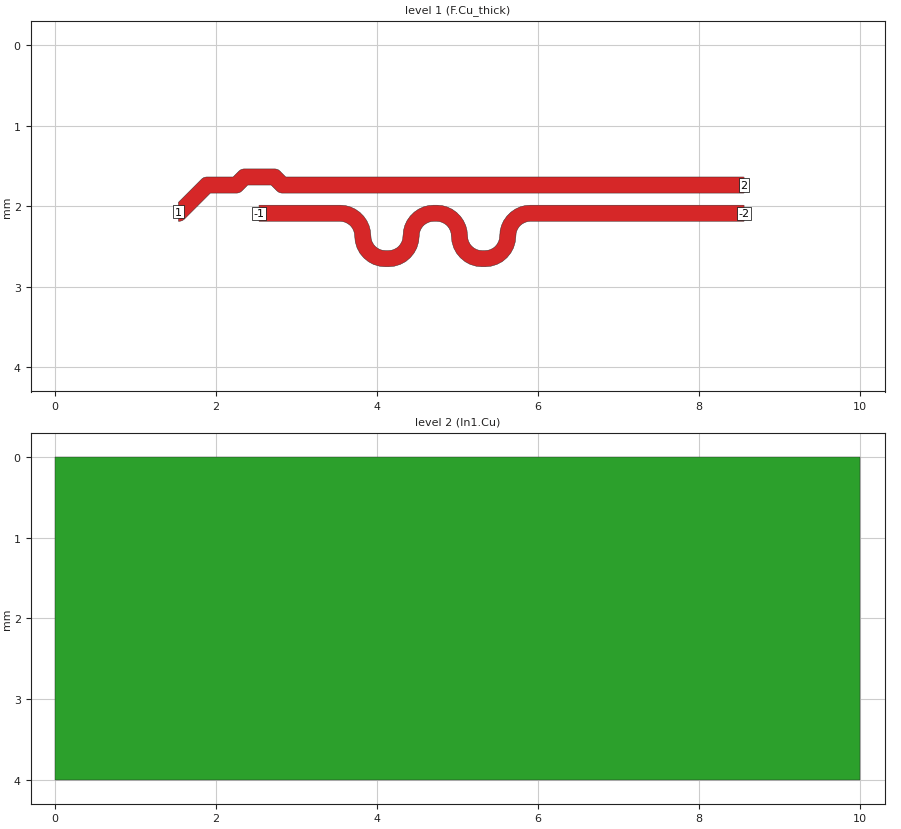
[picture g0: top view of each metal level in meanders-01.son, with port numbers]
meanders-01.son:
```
FTYP SONPROJ 19 ! Sonnet Project File
VER 18.56
HEADER
LIC antikernel2.1.52448
DAT 01/31/2024 20:13:18
BUILT_BY_CREATED xgeom 18.56 01/25/2024 07:41:08
BUILT_BY_SAVED sonnet 18.56
MDATE 01/31/2024 17:11:42
HDATE 01/31/2024 17:11:42
ANN Created by dxfgeo, Sonnet Software Inc.
END HEADER
DIM
ANG DEG
CAP PF
CON /OH
FREQ GHZ
IND NH
LNG MM
RES OH
END DIM
CONTROL
VARSWP
OPTIONS  -dj
SPEED 0
CACHE_ABS 2
Q_ACC N
END CONTROL
GEO
TMET "Free Space" 0 FREESPACE 376.7303136 0 0 0
BMET "Free Space" 0 FREESPACE 376.7303136 0 0 0
MET "Copper_1oz+plated_thick_up" 1 TMM 58000000 0.5 0.0432 2
MET "Copper_1oz+plated_thin" 4 NOR 58000000 0.5 0.0432 
MET "Copper_0.5oz_thin" 2 NOR 58000000 0.5 0.0175 
MET "Copper_1oz+plated_thick_down" 3 TMM 58000000 0.5 0.0432 2 CDVY TDWN
BOX 6 10 4 2000 800 20 0
      10 1 1 0 0 0 0 "Air"
      0.05 3.5 1 0.02 0 0 0 "Soldermask"
      0.2021 3.61 1 0.0092 0 0 0 "Isola_FR408HR"
      1.1938 3.61 1 0.0092 0 0 0 "Isola_FR408HR"
      0.2021 3.61 1 0.0092 0 0 0 "Isola_FR408HR"
      0.05 3.5 1 0.02 0 0 0 "Soldermask"
      10 1 1 0 0 0 0 "Air"
TECHLAY VIA Via1 <UNSPECIFIED> -7 -65534 CAD Via1 drawing 
VIA POLYGON
1 0 -1 N 234 1 1 100 100 0 0 0 Y
TOLEVEL 4 RING NOCOVERS
END
END
TECHLAY METAL F.Cu_thin <UNSPECIFIED> -2 -65534 CAD F.Cu_thin drawing 
1 0 1 N 96 1 1 100 100 0 0 0 Y
END
END
TECHLAY METAL F.Cu_thick L1D0 -1 -65534 CAD F.Cu drawing 
1 0 0 V 98 1 1 100 100 0 0 0 Y
END
END
TECHLAY METAL In1.Cu <UNSPECIFIED> -3 -65534 CAD In1.Cu drawing 
2 0 2 N 101 1 1 100 100 0 0 0 Y
END
END
TECHLAY METAL In2.Cu <UNSPECIFIED> -4 -65534 CAD In2.Cu drawing 
3 0 2 N 104 1 1 100 100 0 0 0 Y
END
END
TECHLAY METAL B.Cu_thin <UNSPECIFIED> -6 -65534 CAD B.Cu_thin drawing 
4 0 1 N 107 1 1 100 100 0 0 0 Y
END
END
TECHLAY METAL B.Cu_thick <UNSPECIFIED> -5 -65534 CAD B.Cu drawing 
4 0 3 N 109 1 1 100 100 0 0 0 Y
END
END
VALVAR WIDTH LNG 0.25 "Dim. Param."
LORGN 0 4 U 
POR1 CUP Auto
GNDREF AUTO
TERMW FEED
POLY 134 1
259
-1 100 0 0 0 2.53593 2.08735 
CUPGRP "Auto" LOCAL
ID 235
END
POR1 CUP Auto
GNDREF AUTO
TERMW FEED
POLY 134 1
43
-2 100 0 0 0 8.55593 2.08735 
CUPGRP "Auto" LOCAL
ID 236
END
POR1 CUP Auto
GNDREF AUTO
TERMW FEED
POLY 135 1
63
1 100 0 0 0 1.53593 2.06935 
CUPGRP "Auto" LOCAL
ID 237
END
POR1 CUP Auto
GNDREF AUTO
TERMW FEED
POLY 135 1
29
2 100 0 0 0 8.55593 1.73735 
CUPGRP "Auto" LOCAL
ID 238
END
NUM 3
1 401 0 V 134 1 1 100 100 0 0 0 Y
TLAYNAM F.Cu_thick INH
5.400096667 2.74635
5.40093 2.74635
5.41093 2.74535
5.41993 2.74335
5.42993 2.74035
5.43043 2.740183333
5.4711175 2.7279125
5.47393 2.72735
5.49193 2.72135
5.537846667 2.696377778
5.54093 2.69535
5.54993 2.69035
5.55793 2.68535
5.600237692 2.649811538
5.60093 2.64935
5.60793 2.64335
5.61493 2.63635
5.62093 2.62935
5.622060435 2.627654348
5.65593 2.58635
5.66193 2.57735
5.66693 2.56935
5.667957778 2.566266667
5.69293 2.52035
5.69593 2.51135
5.711880617 2.458461111
5.71193 2.45835
5.71493 2.44835
5.71693 2.43935
5.71793 2.42935
5.71793 2.428516667
5.721508947 2.389744737
5.72293 2.38335
5.72693 2.33615
5.73440619 2.307740476
5.748297418 2.278291075
5.76713 2.25115
5.787215714 2.231064286
5.811269623 2.214026101
5.846593102 2.197672638
5.87309085 2.190234674
5.90713 2.18735
8.54593 2.18735
8.55593 2.18635
8.55593 1.98835
8.54593 1.98735
5.89993 1.98735
5.894374444 1.987905556
5.84193 1.99235
5.839475455 1.992895455
5.83493 1.99335
5.77793 2.00835
5.77193 2.011016667
5.77093 2.01135
5.766853077 2.013273077
5.75993 2.01635
5.75768 2.0176
5.729578352 2.030855495
5.72793 2.03135
5.71893 2.03535
5.71253 2.03935
5.70893 2.04135
5.702020909 2.046531818
5.66193 2.07435
5.65693 2.07935
5.65693 2.07935
5.65693 2.07935
5.64793 2.08835
5.64793 2.08835
5.62693 2.10935
5.62293 2.11235
5.61593 2.11935
5.61093 2.126016667
5.60893 2.12835
5.60293 2.13635
5.601877368 2.138718421
5.583215714 2.165064286
5.58293 2.16535
5.57693 2.17335
5.57193 2.18135
5.552171935 2.224027419
5.55193 2.22435
5.549707778 2.22935
5.54693 2.23535
5.54393 2.24435
5.542843043 2.249784783
5.52893 2.29935
5.52693 2.31935
5.52693 2.32935
5.52696681 2.329515644
5.525436849 2.347569178
5.52393 2.35435
5.519141202 2.406228646
5.509516207 2.438143103
5.490733318 2.472679384
5.467433856 2.500416838
5.44522479 2.518628272
5.409723103 2.537936207
5.377808646 2.547561202
5.336763333 2.55135
5.309096667 2.55135
5.268051354 2.547561202
5.236136897 2.537936207
5.204437109 2.520695972
5.174863162 2.495853856
5.156651728 2.47364479
5.137343793 2.438143103
5.127718798 2.406228646
5.12293 2.35435
5.121423151 2.347569178
5.11793 2.30635
5.117384545 2.303895455
5.11693 2.29935
5.10193 2.24235
5.099263333 2.23635
5.09893 2.23535
5.097006923 2.231273077
5.09393 2.22435
5.093160769 2.223119231
5.079424505 2.193998352
5.07893 2.19235
5.07493 2.18335
5.07093 2.17695
5.06893 2.17335
5.063748182 2.166440909
5.03593 2.12635
5.03093 2.12135
5.03093 2.12135
5.00093 2.09135
4.99793 2.08735
4.99093 2.08035
4.984263333 2.07535
4.98193 2.07335
4.97393 2.06735
4.971561579 2.066297368
4.945215714 2.047635714
4.94493 2.04735
4.93693 2.04135
4.92893 2.03635
4.891293636 2.019622727
4.88693 2.01635
4.87793 2.01235
4.86893 2.00935
4.866894286 2.008778571
4.86593 2.00835
4.863973478 2.007958696
4.823465714 1.996588095
4.82293 1.99635
4.821843043 1.996132609
4.81193 1.99335
4.805566364 1.992713636
4.80393 1.99235
4.74493 1.98735
4.69993 1.98735
4.694374444 1.987905556
4.64193 1.99235
4.639475455 1.992895455
4.63493 1.99335
4.57793 2.00835
4.57193 2.011016667
4.57093 2.01135
4.566853077 2.013273077
4.55993 2.01635
4.55768 2.0176
4.529578352 2.030855495
4.52793 2.03135
4.51893 2.03535
4.51253 2.03935
4.50893 2.04135
4.502020909 2.046531818
4.46193 2.07435
4.45693 2.07935
4.45693 2.07935
4.44793 2.08835
4.42693 2.10935
4.42293 2.11235
4.41593 2.11935
4.41093 2.126016667
4.40893 2.12835
4.40293 2.13635
4.401877368 2.138718421
4.383215714 2.165064286
4.38293 2.16535
4.37693 2.17335
4.37193 2.18135
4.352171935 2.224027419
4.35193 2.22435
4.349707778 2.22935
4.34693 2.23535
4.34393 2.24435
4.342843043 2.249784783
4.32893 2.29935
4.32693 2.31935
4.32693 2.32935
4.32696681 2.329515644
4.325436849 2.347569178
4.32393 2.35435
4.319141202 2.406228646
4.309516207 2.438143103
4.290733318 2.472679384
4.267433856 2.500416838
4.24522479 2.518628272
4.209723103 2.537936207
4.177808646 2.547561202
4.136763333 2.55135
4.109096667 2.55135
4.068051354 2.547561202
4.036136897 2.537936207
4.004437109 2.520695972
3.974863162 2.495853856
3.956651728 2.47364479
3.937343793 2.438143103
3.927718798 2.406228646
3.92293 2.35435
3.921423151 2.347569178
3.91793 2.30635
3.917384545 2.303895455
3.91693 2.29935
3.90193 2.24235
3.899263333 2.23635
3.89893 2.23535
3.897006923 2.231273077
3.89393 2.22435
3.893160769 2.223119231
3.879424505 2.193998352
3.87893 2.19235
3.87493 2.18335
3.87093 2.17695
3.86893 2.17335
3.863748182 2.166440909
3.83593 2.12635
3.83093 2.12135
3.83093 2.12135
3.80093 2.09135
3.79793 2.08735
3.79093 2.08035
3.784263333 2.07535
3.78193 2.07335
3.77393 2.06735
3.771561579 2.066297368
3.745215714 2.047635714
3.74493 2.04735
3.73693 2.04135
3.72893 2.03635
3.691293636 2.019622727
3.68693 2.01635
3.67793 2.01235
3.66893 2.00935
3.666894286 2.008778571
3.66593 2.00835
3.663973478 2.007958696
3.623465714 1.996588095
3.62293 1.99635
3.621843043 1.996132609
3.61193 1.99335
3.605566364 1.992713636
3.60393 1.99235
3.551485556 1.987905556
3.54593 1.98735
2.53593 1.98735
2.53593 2.18735
3.53873 2.18735
3.57 2.19
3.601277619 2.198230952
3.631988925 2.212717418
3.65913 2.23155
3.679215714 2.251635714
3.69847386 2.278823684
3.712310952 2.309957143
3.720045326 2.33751085
3.72393 2.38335
3.725351053 2.389744737
3.72893 2.428516667
3.72893 2.42935
3.72993 2.43935
3.73193 2.44835
3.73493 2.45835
3.735096667 2.45885
3.7473675 2.4995375
3.74793 2.50235
3.75093 2.51135
3.75393 2.52035
3.778902222 2.566266667
3.77993 2.56935
3.78493 2.57835
3.78993 2.58635
3.825468462 2.628657692
3.82593 2.62935
3.83193 2.63635
3.83893 2.64335
3.84593 2.64935
3.847625652 2.650480435
3.877818889 2.675238889
3.88093 2.67835
3.89693 2.69035
3.904632703 2.694539189
3.90593 2.69535
3.90643 2.695516667
3.95393 2.72135
3.96293 2.72435
4.015818889 2.740300617
4.01593 2.74035
4.02593 2.74335
4.03493 2.74535
4.04493 2.74635
4.045763333 2.74635
4.09993 2.75135
4.14593 2.75135
4.200096667 2.74635
4.20093 2.74635
4.21093 2.74535
4.21993 2.74335
4.22993 2.74035
4.23043 2.740183333
4.2711175 2.7279125
4.27393 2.72735
4.29193 2.72135
4.337846667 2.696377778
4.34093 2.69535
4.34993 2.69035
4.35793 2.68535
4.400237692 2.649811538
4.40093 2.64935
4.40793 2.64335
4.41493 2.63635
4.42093 2.62935
4.422060435 2.627654348
4.45593 2.58635
4.46193 2.57735
4.46693 2.56935
4.467957778 2.566266667
4.49293 2.52035
4.49593 2.51135
4.511880617 2.458461111
4.51193 2.45835
4.51493 2.44835
4.51693 2.43935
4.51793 2.42935
4.51793 2.428516667
4.521508947 2.389744737
4.52293 2.38335
4.52693 2.33615
4.53440619 2.307740476
4.548297418 2.278291075
4.56713 2.25115
4.587215714 2.231064286
4.611269623 2.214026101
4.646593102 2.197672638
4.67309085 2.190234674
4.70713 2.18735
4.73873 2.18735
4.77 2.19
4.801277619 2.198230952
4.831988925 2.212717418
4.85913 2.23155
4.879215714 2.251635714
4.89847386 2.278823684
4.912310952 2.309957143
4.920045326 2.33751085
4.92393 2.38335
4.925351053 2.389744737
4.92893 2.428516667
4.92893 2.42935
4.92993 2.43935
4.93193 2.44835
4.93493 2.45835
4.935096667 2.45885
4.9473675 2.4995375
4.94793 2.50235
4.95093 2.51135
4.95393 2.52035
4.978902222 2.566266667
4.97993 2.56935
4.98493 2.57835
4.98993 2.58635
5.025468462 2.628657692
5.02593 2.62935
5.03193 2.63635
5.03893 2.64335
5.04593 2.64935
5.047625652 2.650480435
5.077818889 2.675238889
5.08093 2.67835
5.08893 2.68435
5.08893 2.68435
5.08893 2.68435
5.09693 2.69035
5.104632703 2.694539189
5.10593 2.69535
5.10643 2.695516667
5.15393 2.72135
5.16293 2.72435
5.215818889 2.740300617
5.21593 2.74035
5.22593 2.74335
5.23493 2.74535
5.24493 2.74635
5.245763333 2.74635
5.29993 2.75135
5.34593 2.75135
5.400096667 2.74635
END
1 67 0 V 135 1 1 100 100 0 0 0 Y
TLAYNAM F.Cu_thick INH
1.55593 2.18635
1.56493 2.18435
1.57493 2.18135
1.58393 2.17835
1.59193 2.17335
1.60093 2.16735
1.60793 2.16135
1.93193 1.83735
2.25993 1.83735
2.26993 1.83635
2.27893 1.83435
2.28893 1.83135
2.29793 1.82835
2.30593 1.82335
2.31493 1.81735
2.32193 1.81135
2.39593 1.73735
2.68593 1.73735
2.75293 1.80435
2.75993 1.81135
2.76693 1.81735
2.77593 1.82335
2.78393 1.82835
2.79293 1.83135
2.80293 1.83435
2.81193 1.83635
2.82193 1.83735
8.54593 1.83735
8.55493 1.83635
8.55593 1.83615
8.55593 1.63855
8.55493 1.63835
8.54593 1.63735
2.86793 1.63735
2.80793 1.57735
2.80193 1.57035
2.79493 1.56335
2.77893 1.55135
2.77093 1.54635
2.76193 1.54335
2.75193 1.54035
2.74193 1.53835
2.73293 1.53735
2.34993 1.53735
2.33993 1.53835
2.33093 1.54035
2.32093 1.54335
2.31193 1.54635
2.30393 1.55135
2.29493 1.55735
2.28793 1.56335
2.28093 1.57035
2.28093 1.57035
2.21393 1.63735
1.88593 1.63735
1.87593 1.63835
1.86693 1.64035
1.85693 1.64335
1.84793 1.64635
1.83993 1.65135
1.83093 1.65735
1.82393 1.66335
1.81693 1.67035
1.53593 1.95135
1.53593 2.18735
1.54593 2.18735
1.55593 2.18635
END
2 5 2 N 136 1 1 100 100 0 0 0 Y
TLAYNAM In1.Cu INH
0 0
10 0
10 4
0 4
0 0
END
END GEO
OPT
MAX 100
END OPT
VARSWP
ENABLED Y
FREQ Y AN SWEEP 5.0 30.0 5.0
FREQ Y AN STEP 12.7
FREQ Y AY ABS_ENTRY 0.01 30.0 -1 300 
END
END VARSWP
```
